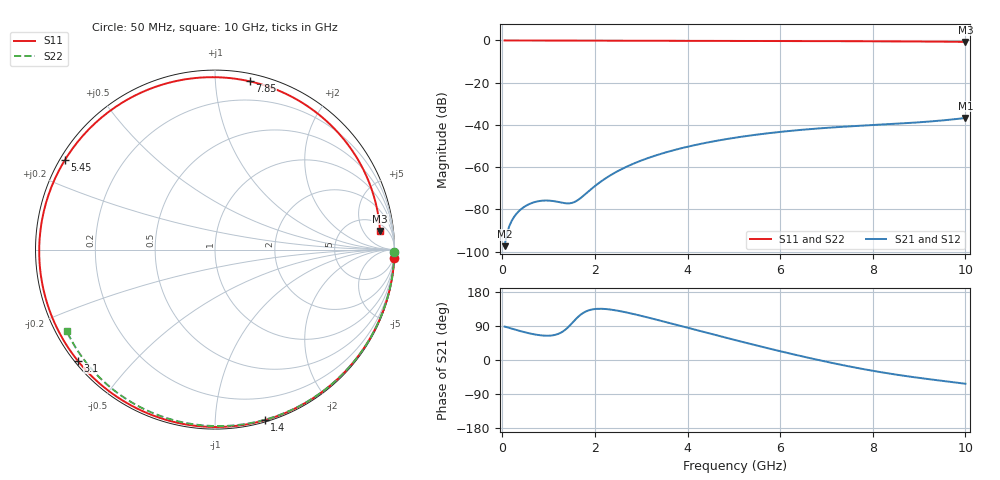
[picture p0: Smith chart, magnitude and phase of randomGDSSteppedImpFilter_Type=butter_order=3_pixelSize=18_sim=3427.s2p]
! freq	dB(S11)	phase(S11)	dB(S12)	phase(S12)
!  dB(S21)	phase(S21)	dB(S22)	phase(S22)
!S-par simulation data
#  GHz  S  DB  R 50
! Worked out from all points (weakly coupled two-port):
!   200 points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, 50 MHz to 10 GHz, reference 50 ohm
!   highest |S21| = -36.71 dB at 10 GHz (marker M1); lowest = -97.4 dB at 50 MHz (marker M2)
!   lowest |S11| = -0.7 dB at 10 GHz (marker M3), VSWR 25.72, Z = 416 + j600 ohm
!   |S11| at or under -10 dB: nowhere
!   |S22| runs from -0.5 to 0.0 dB; largest |S21 - S12| = 0
!   S11 on the Smith chart (normalised r, x): 50 MHz: 0, -41; 1.4 GHz: 0.01, -1.33; 3.1 GHz: 0.01, -0.35; 5.45 GHz: 0.01, +0.28; 7.85 GHz: 0.05, +1.23; 10 GHz: 8, +12
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0.05  -0.00 -2.8  -97.41 88.3  -97.41 88.3  -0.00 -0.9
0.4  -0.03 -22.3  -79.99 75.9  -79.99 75.9  -0.01 -6.9
0.6  -0.04 -33.2  -77.30 69.9  -77.30 69.9  -0.01 -10.4
0.8  -0.06 -43.9  -76.04 65.5  -76.04 65.5  -0.02 -13.8
1.1  -0.07 -59.3  -76.03 65.3  -76.03 65.3  -0.03 -19.0
1.4  -0.09 -73.8  -77.15 84.1  -77.15 84.1  -0.03 -24.1
1.55  -0.09 -80.8  -76.57 103.1  -76.57 103.1  -0.03 -26.6
1.75  -0.10 -89.7  -73.57 124.5  -73.57 124.5  -0.04 -30.0
2.05  -0.11 -102.4  -68.09 135.0  -68.09 135.0  -0.04 -35.0
2.35  -0.12 -114.2  -63.65 132.9  -63.65 132.9  -0.05 -40.0
3.1  -0.14 -141.0  -56.05 113.5  -56.05 113.5  -0.07 -52.2
3.4  -0.15 -150.8  -53.85 104.2  -53.85 104.2  -0.08 -57.0
4.2  -0.17 -175.3  -49.35 78.7  -49.35 78.7  -0.10 -69.5
5.05  -0.21 160.3  -45.97 51.9  -45.97 51.9  -0.13 -82.3
5.45  -0.23 149.1  -44.73 39.6  -44.73 39.6  -0.14 -88.2
6.1  -0.26 130.7  -43.07 20.3  -43.07 20.3  -0.17 -97.6
6.7  -0.30 113.3  -41.88 3.4  -41.88 3.4  -0.21 -106.1
7.3  -0.34 95.4  -40.94 -12.3  -40.94 -12.3  -0.25 -114.4
7.85  -0.38 78.3  -40.23 -25.2  -40.23 -25.2  -0.29 -121.9
8.35  -0.42 62.3  -39.64 -35.6  -39.64 -35.6  -0.33 -128.7
9.25  -0.53 32.3  -38.34 -51.2  -38.34 -51.2  -0.42 -141.0
10  -0.68 6.4  -36.71 -62.7  -36.71 -62.7  -0.51 -151.3
